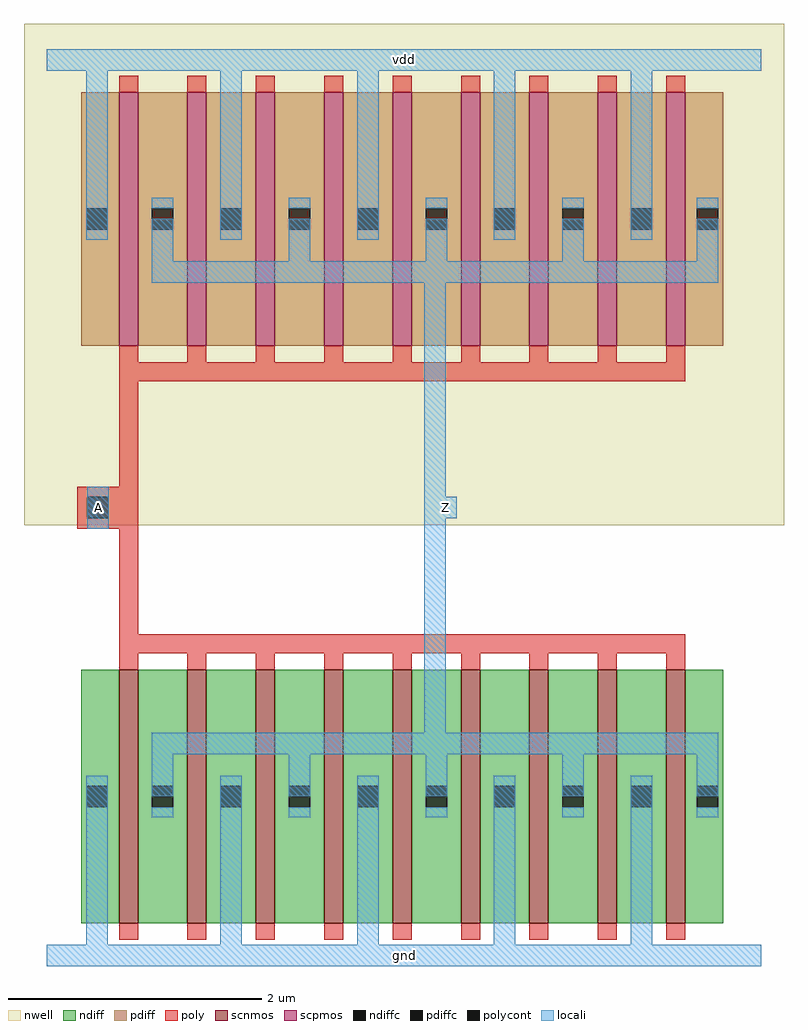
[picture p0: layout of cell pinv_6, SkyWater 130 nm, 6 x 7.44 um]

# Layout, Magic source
magic
tech sky130A
magscale 1 2
<< nwell >>
rect -36 679 1164 1471
<< poly >>
rect 114 740 144 907
rect 81 674 144 740
rect 114 507 144 674
<< locali >>
rect 0 1397 1128 1431
rect 62 1130 96 1397
rect 274 1130 308 1397
rect 490 1130 524 1397
rect 706 1130 740 1397
rect 922 1130 956 1397
rect 64 674 98 740
rect 596 724 630 1096
rect 596 690 647 724
rect 596 318 630 690
rect 62 17 96 218
rect 274 17 308 218
rect 490 17 524 218
rect 706 17 740 218
rect 922 17 956 218
rect 0 -17 1128 17
use pmos_m9_w2_000_sli_dli_da_p  pmos_m9_w2_000_sli_dli_da_p_0
transform 1 0 54 0 1 963
box -59 -56 1073 454
use nmos_m9_w2_000_sli_dli_da_p  nmos_m9_w2_000_sli_dli_da_p_0
transform 1 0 54 0 1 51
box 0 -26 1014 456
use contact_12  contact_12_0
transform 1 0 48 0 1 674
box 0 0 66 66
<< labels >>
rlabel corelocali s 564 0 564 0 4 gnd
rlabel corelocali s 630 707 630 707 4 Z
rlabel corelocali s 564 1414 564 1414 4 vdd
rlabel corelocali s 81 707 81 707 4 A
<< properties >>
string FIXED_BBOX 0 0 1128 1414
<< end >>

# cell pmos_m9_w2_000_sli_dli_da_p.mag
magic
tech sky130A
magscale 1 2
<< nwell >>
rect -54 -54 1068 454
<< scpmos >>
rect 60 0 90 400
rect 168 0 198 400
rect 276 0 306 400
rect 384 0 414 400
rect 492 0 522 400
rect 600 0 630 400
rect 708 0 738 400
rect 816 0 846 400
rect 924 0 954 400
<< pdiff >>
rect 0 0 60 400
rect 90 0 168 400
rect 198 0 276 400
rect 306 0 384 400
rect 414 0 492 400
rect 522 0 600 400
rect 630 0 708 400
rect 738 0 816 400
rect 846 0 924 400
rect 954 0 1014 400
<< poly >>
rect 60 400 90 426
rect 168 400 198 426
rect 276 400 306 426
rect 384 400 414 426
rect 492 400 522 426
rect 600 400 630 426
rect 708 400 738 426
rect 816 400 846 426
rect 924 400 954 426
rect 60 -26 90 0
rect 168 -26 198 0
rect 276 -26 306 0
rect 384 -26 414 0
rect 492 -26 522 0
rect 600 -26 630 0
rect 708 -26 738 0
rect 816 -26 846 0
rect 924 -26 954 0
rect 60 -56 954 -26
<< locali >>
rect 8 167 42 233
rect 112 133 146 200
rect 220 167 254 233
rect 328 133 362 200
rect 436 167 470 233
rect 544 133 578 200
rect 652 167 686 233
rect 760 133 794 200
rect 868 167 902 233
rect 972 133 1006 200
rect 112 99 1006 133
use contact_11  contact_11_9
transform 1 0 0 0 1 167
box -59 -51 109 117
use contact_11  contact_11_8
transform 1 0 104 0 1 167
box -59 -51 109 117
use contact_11  contact_11_7
transform 1 0 212 0 1 167
box -59 -51 109 117
use contact_11  contact_11_6
transform 1 0 320 0 1 167
box -59 -51 109 117
use contact_11  contact_11_5
transform 1 0 428 0 1 167
box -59 -51 109 117
use contact_11  contact_11_4
transform 1 0 536 0 1 167
box -59 -51 109 117
use contact_11  contact_11_3
transform 1 0 644 0 1 167
box -59 -51 109 117
use contact_11  contact_11_2
transform 1 0 752 0 1 167
box -59 -51 109 117
use contact_11  contact_11_1
transform 1 0 860 0 1 167
box -59 -51 109 117
use contact_11  contact_11_0
transform 1 0 964 0 1 167
box -59 -51 109 117
<< labels >>
rlabel poly s 507 -41 507 -41 4 G
rlabel corelocali s 669 200 669 200 4 S
rlabel corelocali s 453 200 453 200 4 S
rlabel corelocali s 25 200 25 200 4 S
rlabel corelocali s 885 200 885 200 4 S
rlabel corelocali s 237 200 237 200 4 S
rlabel corelocali s 559 116 559 116 4 D
<< properties >>
string FIXED_BBOX -54 -54 1068 454
<< end >>

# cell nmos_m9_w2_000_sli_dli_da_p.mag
magic
tech sky130A
magscale 1 2
<< scnmos >>
rect 60 0 90 400
rect 168 0 198 400
rect 276 0 306 400
rect 384 0 414 400
rect 492 0 522 400
rect 600 0 630 400
rect 708 0 738 400
rect 816 0 846 400
rect 924 0 954 400
<< ndiff >>
rect 0 0 60 400
rect 90 0 168 400
rect 198 0 276 400
rect 306 0 384 400
rect 414 0 492 400
rect 522 0 600 400
rect 630 0 708 400
rect 738 0 816 400
rect 846 0 924 400
rect 954 0 1014 400
<< poly >>
rect 60 426 954 456
rect 60 400 90 426
rect 168 400 198 426
rect 276 400 306 426
rect 384 400 414 426
rect 492 400 522 426
rect 600 400 630 426
rect 708 400 738 426
rect 816 400 846 426
rect 924 400 954 426
rect 60 -26 90 0
rect 168 -26 198 0
rect 276 -26 306 0
rect 384 -26 414 0
rect 492 -26 522 0
rect 600 -26 630 0
rect 708 -26 738 0
rect 816 -26 846 0
rect 924 -26 954 0
<< locali >>
rect 112 267 1006 301
rect 8 167 42 233
rect 112 200 146 267
rect 220 167 254 233
rect 328 200 362 267
rect 436 167 470 233
rect 544 200 578 267
rect 652 167 686 233
rect 760 200 794 267
rect 868 167 902 233
rect 972 200 1006 267
use contact_17  contact_17_0
transform 1 0 964 0 1 167
box 0 0 50 66
use contact_17  contact_17_1
transform 1 0 860 0 1 167
box 0 0 50 66
use contact_17  contact_17_2
transform 1 0 752 0 1 167
box 0 0 50 66
use contact_17  contact_17_3
transform 1 0 644 0 1 167
box 0 0 50 66
use contact_17  contact_17_4
transform 1 0 536 0 1 167
box 0 0 50 66
use contact_17  contact_17_5
transform 1 0 428 0 1 167
box 0 0 50 66
use contact_17  contact_17_6
transform 1 0 320 0 1 167
box 0 0 50 66
use contact_17  contact_17_7
transform 1 0 212 0 1 167
box 0 0 50 66
use contact_17  contact_17_8
transform 1 0 104 0 1 167
box 0 0 50 66
use contact_17  contact_17_9
transform 1 0 0 0 1 167
box 0 0 50 66
<< labels >>
rlabel poly s 507 441 507 441 4 G
rlabel corelocali s 669 200 669 200 4 S
rlabel corelocali s 453 200 453 200 4 S
rlabel corelocali s 25 200 25 200 4 S
rlabel corelocali s 885 200 885 200 4 S
rlabel corelocali s 237 200 237 200 4 S
rlabel corelocali s 559 284 559 284 4 D
<< properties >>
string FIXED_BBOX -25 -26 1039 426
<< end >>

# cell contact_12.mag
magic
tech sky130A
<< poly >>
rect 0 25 33 33
rect 0 8 8 25
rect 25 8 33 25
rect 0 0 33 8
<< polycont >>
rect 8 8 25 25
<< locali >>
rect 8 25 25 33
rect 8 0 25 8
<< properties >>
string FIXED_BBOX -10 -10 43 43
<< end >>

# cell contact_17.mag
magic
tech sky130A
<< ndiff >>
rect 0 25 25 31
rect 0 8 4 25
rect 21 8 25 25
rect 0 2 25 8
<< ndiffc >>
rect 4 8 21 25
<< locali >>
rect 4 25 21 33
rect 4 0 21 8
<< properties >>
string FIXED_BBOX -12 -10 37 43
<< end >>

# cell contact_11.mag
magic
tech sky130A
magscale 1 2
<< nwell >>
rect -59 -51 109 117
<< pdiff >>
rect 0 50 50 62
rect 0 16 8 50
rect 42 16 50 50
rect 0 4 50 16
<< pdiffc >>
rect 8 16 42 50
<< locali >>
rect 8 50 42 66
rect 8 0 42 16
<< properties >>
string FIXED_BBOX -59 -51 109 117
<< end >>
